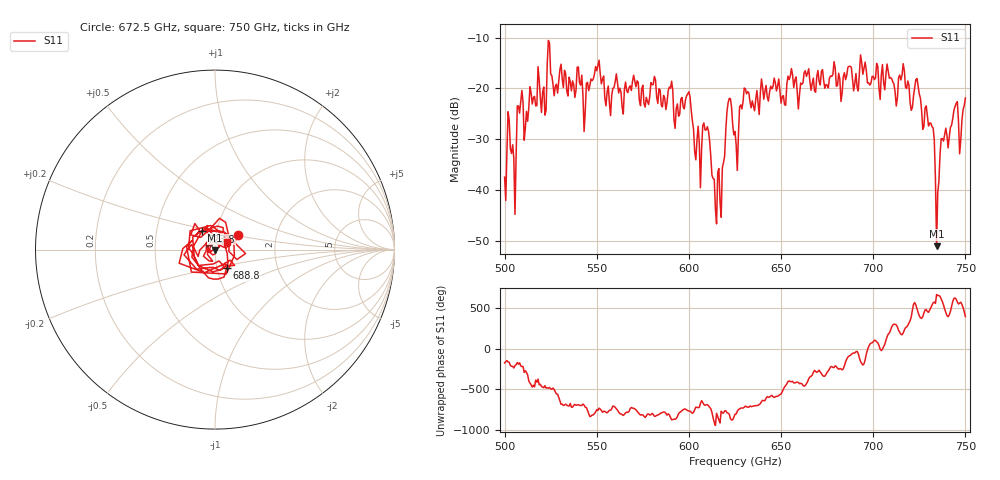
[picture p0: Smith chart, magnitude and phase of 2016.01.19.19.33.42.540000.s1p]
!Created with skrf (http://scikit-rf.org).
# GHz S RI R 50.0
!freq ReS11 ImS11
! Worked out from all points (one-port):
!   401 points, 500 GHz to 750 GHz, reference 50 ohm
!   lowest |S11| = -51.0 dB at 734.4 GHz (marker M1), VSWR 1.01, Z = 50.1 - j0.243 ohm
!   |S11| at or under -10 dB: start of sweep to end of sweep
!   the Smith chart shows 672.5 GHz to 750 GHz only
!   S11 on the Smith chart (normalised r, x): 672.5 GHz: 1.28, +0.21; 688.8 GHz: 1.11, -0.23; 723.8 GHz: 0.85, +0.17; 750 GHz: 1.14, +0.10
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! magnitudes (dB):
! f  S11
! 500 GHz  -37.5
! 503.1 GHz  -31.9
! 505 GHz  -33.8
! 508.1 GHz  -24.9
! 521.2 GHz  -19.7
! 524.4 GHz  -11.1
! 527.5 GHz  -19.6
! 531.2 GHz  -18.1
! 562.5 GHz  -20.0
! 590 GHz  -20.0
! 593.8 GHz  -23.1
! 600 GHz  -20.7
! 605 GHz  -27.4
! 609.4 GHz  -28.2
! 616.2 GHz  -35.8
! 621.9 GHz  -22.0
! 625 GHz  -28.5
! 631.2 GHz  -21.1
! 656.2 GHz  -17.4
! 672.5 GHz  -16.3
! 687.5 GHz  -15.6
! 688.8 GHz  -18.3
! 718.8 GHz  -18.5
! 723.8 GHz  -18.1
! 731.9 GHz  -27.5
! 734.4 GHz  -51.0
! 738.1 GHz  -30.4
! 750 GHz  -21.9
